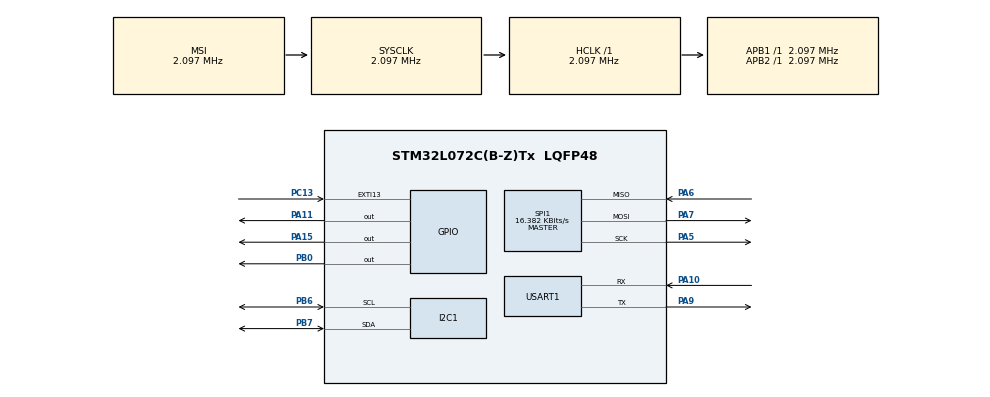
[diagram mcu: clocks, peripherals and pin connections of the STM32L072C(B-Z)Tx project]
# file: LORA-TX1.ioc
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I2C1.Timing=0x00000608
Mcu.Family=STM32L0
Mcu.Name=STM32L072C(B-Z)Tx
Mcu.Package=LQFP48
NVIC.EXTI4_15_IRQn=true\:0\:0\:false\:false\:true\:true\:true\:true
NVIC.RTC_IRQn=true\:0\:0\:false\:false\:true\:true\:true\:true
PA10.Mode=Asynchronous
PA10.Signal=USART1_RX
PA11.Signal=GPIO_Output
PA15.Signal=GPIO_Output
PA5.Mode=Full_Duplex_Master
PA5.Signal=SPI1_SCK
PA6.Mode=Full_Duplex_Master
PA6.Signal=SPI1_MISO
PA7.Mode=Full_Duplex_Master
PA7.Signal=SPI1_MOSI
PA9.Mode=Asynchronous
PA9.Signal=USART1_TX
PB0.Signal=GPIO_Output
PB6.Mode=I2C
PB6.Signal=I2C1_SCL
PB7.Mode=I2C
PB7.Signal=I2C1_SDA
PC13.Signal=GPXTI13
PC14-OSC32_IN.Mode=LSE-External-Oscillator
PC14-OSC32_IN.Signal=RCC_OSC32_IN
PC15-OSC32_OUT.Mode=LSE-External-Oscillator
PC15-OSC32_OUT.Signal=RCC_OSC32_OUT
ProjectManager.HeapSize=0x200
ProjectManager.StackSize=0x400
ProjectManager.TargetToolchain=STM32CubeIDE
RCC.AHBFreq_Value=2097000
RCC.APB1Freq_Value=2097000
RCC.APB1TimFreq_Value=2097000
RCC.APB2Freq_Value=2097000
RCC.APB2TimFreq_Value=2097000
RCC.HSE_VALUE=8000000
RCC.HSI16_VALUE=16000000
RCC.HSI48_VALUE=48000000
RCC.HSI_VALUE=16000000
RCC.MSI_VALUE=2097000
RCC.SYSCLKFreq_VALUE=2097000
RCC.VCOOutputFreq_Value=48000000
SPI1.BaudRatePrescaler=SPI_BAUDRATEPRESCALER_128
SPI1.CalculateBaudRate=16.382 KBits/s
SPI1.Direction=SPI_DIRECTION_2LINES
SPI1.Mode=SPI_MODE_MASTER
SPI1.VirtualType=VM_MASTER
USART1.VirtualMode-Asynchronous=VM_ASYNC
VP_ADC_Vref_Input.Mode=IN-Vrefint
VP_RTC_VS_RTC_Activate.Mode=RTC_Enabled
VP_RTC_VS_RTC_WakeUp_intern.Mode=WakeUp
board=custom

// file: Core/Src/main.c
/* USER CODE BEGIN Header */
/**
  ******************************************************************************
  * @file           : main.c
  * @brief          : Main program body
  ******************************************************************************
  * @attention
  *
  * Copyright (c) 2026 STMicroelectronics.
  * All rights reserved.
  *
  * This software is licensed under terms that can be found in the LICENSE file
  * in the root directory of this software component.
  * If no LICENSE file comes with this software, it is provided AS-IS.
  *
  ******************************************************************************
  */
/* USER CODE END Header */
#include "main.h"

/* USER CODE BEGIN Includes */
#include "sx1276.h"
#include <stdio.h>
#include <string.h>
/* USER CODE END Includes */

ADC_HandleTypeDef hadc;

I2C_HandleTypeDef hi2c1;

RTC_HandleTypeDef hrtc;

SPI_HandleTypeDef hspi1;

UART_HandleTypeDef huart1;

void SystemClock_Config(void);
static void MX_GPIO_Init(void);
static void MX_SPI1_Init(void);
static void MX_USART1_UART_Init(void);
static void MX_RTC_Init(void);
static void MX_ADC_Init(void);
static void MX_I2C1_Init(void);
/* USER CODE BEGIN PFP */

////////// Funciones para dormir el micro en STOP mode ////////////////
void RTC_SetWakeUp(uint32_t seconds)
{
    HAL_RTCEx_DeactivateWakeUpTimer(&hrtc);

    HAL_RTCEx_SetWakeUpTimer_IT(
        &hrtc,
        seconds,
        RTC_WAKEUPCLOCK_CK_SPRE_16BITS
    );
}

void Enter_Stop_Mode(void)
{
    HAL_SuspendTick();

    HAL_PWR_EnterSTOPMode(
        PWR_LOWPOWERREGULATOR_ON,
        PWR_STOPENTRY_WFI
    );
    SystemClock_Config();
    HAL_ResumeTick();
}
///////////////////////////////////////////////////////////////////////

////////// Funciones para escribir registros en SX1276 ////////////////
void LORA_Select(void)
{
    HAL_GPIO_WritePin(SX_NSS_PORT, SX_NSS_PIN, GPIO_PIN_RESET);
}

void LORA_Unselect(void)
{
    HAL_GPIO_WritePin(SX_NSS_PORT, SX_NSS_PIN, GPIO_PIN_SET);
}

void SX1276_WriteRegister(uint8_t reg, uint8_t value)
{
    uint8_t tx[2];

    tx[0] = reg | 0x80;   // bit 7 = 1 → WRITE
    tx[1] = value;

    LORA_Select();
    HAL_SPI_Transmit(&hspi1, tx, 2, HAL_MAX_DELAY);
    LORA_Unselect();
}
///////////////////////////////////////////////////////////////////////

////////// Funciones para dormir el SX1276 mientras no trasnmito ////////////////
void SX1276_Sleep(void)
{
	SX1276_WriteRegister(0x01, 0x80);
}

void SX1276_Standby(void)
{
	SX1276_WriteRegister(0x01, 0x81);
}

////////// Funciones para dormir stm mientras transmito ////////////////
void HAL_GPIO_EXTI_Callback(uint16_t GPIO_Pin)
{
    if (GPIO_Pin == SX_DIO0_PIN)
    {
    	//SX1276_WriteRegister(0x12, 0xFF); // limpiar IRQ
        tx_done_flag = 1;
    }
}

/////////// Funciones para leer VDD de la bateria ///////////////////
uint32_t read_vdd_mv(void)
{
    HAL_ADC_Start(&hadc);

    HAL_ADC_PollForConversion(&hadc, HAL_MAX_DELAY);

    uint32_t adc = HAL_ADC_GetValue(&hadc);

    HAL_ADC_Stop(&hadc);

    uint32_t vref_cal = *((uint16_t*)0x1FF80078);

    uint32_t vdd = (3000 * vref_cal) / adc;

    return vdd;
}
/////////// Funciones para leer ADC ///////////////////
/*uint16_t ADC_value = 0;
int count = 0;
int value = 0;

long map(long x, long in_min, long in_max, long out_min, long out_max){
	return ( x-in_min)*(out_max-out_min+1) / (in_max - in_min + 1) + out_min;
}*/
/////////// Funciones para leer SHT20 ///////////////////
float SHT20_ReadTemperature(void)
{
    uint8_t cmd = 0xF3;
    uint8_t data[2];

    HAL_I2C_Master_Transmit(&hi2c1, 0x40<<1, &cmd, 1, HAL_MAX_DELAY);

    HAL_Delay(85);

    HAL_I2C_Master_Receive(&hi2c1, 0x40<<1, data, 2, HAL_MAX_DELAY);

    uint16_t raw = (data[0] << 8) | data[1];

    float temp = -46.85 + 175.72 * raw / 65536.0;

    return temp;
}

float SHT20_ReadHumidity(void)
{
    uint8_t cmd = 0xF5;
    uint8_t data[2];

    HAL_I2C_Master_Transmit(&hi2c1, 0x40<<1, &cmd, 1, HAL_MAX_DELAY);

    HAL_Delay(29);

    HAL_I2C_Master_Receive(&hi2c1, 0x40<<1, data, 2, HAL_MAX_DELAY);

    uint16_t raw = (data[0] << 8) | data[1];

    float hum = -6 + 125.0 * raw / 65536.0;

    return hum;
}

/* USER CODE END PFP */

int main(void)
{

  /* MCU Configuration--------------------------------------------------------*/

  /* Reset of all peripherals, Initializes the Flash interface and the Systick. */
  HAL_Init();

  /* Configure the system clock */
  SystemClock_Config();

  /* Initialize all configured peripherals */
  MX_GPIO_Init();
  MX_SPI1_Init();
  MX_USART1_UART_Init();
  MX_RTC_Init();
  MX_ADC_Init();
  MX_I2C1_Init();
  /* USER CODE BEGIN 2 */
  SX1276_Init();

  /* USER CODE END 2 */

  /* Infinite loop */
  /* USER CODE BEGIN WHILE */
  char msg[80];

  int v_int = 1245;  // 12.45 V representado como entero x100
  int i_int = 132;   // 1.32 A
  int counter = 0;  // 16.43 W

  while (1)
  {
    /* USER CODE END WHILE */

    /* USER CODE BEGIN 3 */
  //uint8_t msg[] = "<0001>TEST";
  //SX1276_Send(msg, sizeof(msg)-1);

  //medir el vdd
  uint32_t vdd = read_vdd_mv();
  int vbat_int = vdd;

  // temperatura y humedad
  float temp = SHT20_ReadTemperature();
  float hum  = SHT20_ReadHumidity();

  //lectura del ADC
/*  HAL_ADC_Start(&hadc);
  HAL_ADC_PollForConversion(&hadc, 100);
  ADC_value = HAL_ADC_GetValue(&hadc);
  HAL_ADC_Stop(&hadc);
  value = map(ADC_value, 0, 4030, 0, 100);*/

  /*sprintf(msg, "<0001>{\"v\":%d.%02d,\"i\":%d.%02d,\"vbat\":%d.%03d,\"c\":%d}",
			v_int/100, v_int%100,
			i_int/100, i_int%100,
			vbat_int/1000, vbat_int%1000,
			counter);*/
  //printf("vbat=%lu ", vdd);
  //printf("vbat=%lu temp=%f hum=%f\r\n", vdd, temp, hum);
  sprintf(msg, // @suppress("Float formatting support")
  "<0001>{\"vbat\":%d.%03d,\"t\":%.2f,\"h\":%.2f,\"c\":%d}",
  vbat_int/1000,
  vbat_int%1000,
  temp,
  hum,
  counter);

  SX1276_Send((uint8_t*)msg, strlen(msg));
  counter++;

  HAL_GPIO_WritePin(GPIOA, GPIO_PIN_11, GPIO_PIN_SET);
  HAL_Delay(250);
  HAL_GPIO_WritePin(GPIOA, GPIO_PIN_11, GPIO_PIN_RESET);

  SX1276_Sleep();	// ← dormimos el radio

  //HAL_Delay(15000);
  RTC_SetWakeUp(900);

  Enter_Stop_Mode();

  SX1276_Standby(); // ← despertamos radio
  }
  /* USER CODE END 3 */
}

void SystemClock_Config(void)
{
  RCC_OscInitTypeDef RCC_OscInitStruct = {0};
  RCC_ClkInitTypeDef RCC_ClkInitStruct = {0};
  RCC_PeriphCLKInitTypeDef PeriphClkInit = {0};

  /** Configure the main internal regulator output voltage
  */
  __HAL_PWR_VOLTAGESCALING_CONFIG(PWR_REGULATOR_VOLTAGE_SCALE1);

  /** Initializes the RCC Oscillators according to the specified parameters
  * in the RCC_OscInitTypeDef structure.
  */
  RCC_OscInitStruct.OscillatorType = RCC_OSCILLATORTYPE_LSI|RCC_OSCILLATORTYPE_MSI;
  RCC_OscInitStruct.LSIState = RCC_LSI_ON;
  RCC_OscInitStruct.MSIState = RCC_MSI_ON;
  RCC_OscInitStruct.MSICalibrationValue = 0;
  RCC_OscInitStruct.MSIClockRange = RCC_MSIRANGE_5;
  RCC_OscInitStruct.PLL.PLLState = RCC_PLL_NONE;
  if (HAL_RCC_OscConfig(&RCC_OscInitStruct) != HAL_OK)
  {
    Error_Handler();
  }

  /** Initializes the CPU, AHB and APB buses clocks
  */
  RCC_ClkInitStruct.ClockType = RCC_CLOCKTYPE_HCLK|RCC_CLOCKTYPE_SYSCLK
                              |RCC_CLOCKTYPE_PCLK1|RCC_CLOCKTYPE_PCLK2;
  RCC_ClkInitStruct.SYSCLKSource = RCC_SYSCLKSOURCE_MSI;
  RCC_ClkInitStruct.AHBCLKDivider = RCC_SYSCLK_DIV1;
  RCC_ClkInitStruct.APB1CLKDivider = RCC_HCLK_DIV1;
  RCC_ClkInitStruct.APB2CLKDivider = RCC_HCLK_DIV1;

  if (HAL_RCC_ClockConfig(&RCC_ClkInitStruct, FLASH_LATENCY_0) != HAL_OK)
  {
    Error_Handler();
  }
  PeriphClkInit.PeriphClockSelection = RCC_PERIPHCLK_USART1|RCC_PERIPHCLK_I2C1
                              |RCC_PERIPHCLK_RTC;
  PeriphClkInit.Usart1ClockSelection = RCC_USART1CLKSOURCE_PCLK2;
  PeriphClkInit.I2c1ClockSelection = RCC_I2C1CLKSOURCE_PCLK1;
  PeriphClkInit.RTCClockSelection = RCC_RTCCLKSOURCE_LSI;
  if (HAL_RCCEx_PeriphCLKConfig(&PeriphClkInit) != HAL_OK)
  {
    Error_Handler();
  }
}

static void MX_ADC_Init(void)
{

  ADC_ChannelConfTypeDef sConfig = {0};

  /** Configure the global features of the ADC (Clock, Resolution, Data Alignment and number of conversion)
  */
  hadc.Instance = ADC1;
  hadc.Init.OversamplingMode = DISABLE;
  hadc.Init.ClockPrescaler = ADC_CLOCK_SYNC_PCLK_DIV1;
  hadc.Init.Resolution = ADC_RESOLUTION_12B;
  hadc.Init.SamplingTime = ADC_SAMPLETIME_1CYCLE_5;
  hadc.Init.ScanConvMode = ADC_SCAN_DIRECTION_FORWARD;
  hadc.Init.DataAlign = ADC_DATAALIGN_RIGHT;
  hadc.Init.ContinuousConvMode = DISABLE;
  hadc.Init.DiscontinuousConvMode = DISABLE;
  hadc.Init.ExternalTrigConvEdge = ADC_EXTERNALTRIGCONVEDGE_NONE;
  hadc.Init.ExternalTrigConv = ADC_SOFTWARE_START;
  hadc.Init.DMAContinuousRequests = DISABLE;
  hadc.Init.EOCSelection = ADC_EOC_SINGLE_CONV;
  hadc.Init.Overrun = ADC_OVR_DATA_PRESERVED;
  hadc.Init.LowPowerAutoWait = DISABLE;
  hadc.Init.LowPowerFrequencyMode = ENABLE;
  hadc.Init.LowPowerAutoPowerOff = DISABLE;
  if (HAL_ADC_Init(&hadc) != HAL_OK)
  {
    Error_Handler();
  }

  /** Configure for the selected ADC regular channel to be converted.
  */
  sConfig.Channel = ADC_CHANNEL_VREFINT;
  sConfig.Rank = ADC_RANK_CHANNEL_NUMBER;
  if (HAL_ADC_ConfigChannel(&hadc, &sConfig) != HAL_OK)
  {
    Error_Handler();
  }

}

static void MX_I2C1_Init(void)
{

  hi2c1.Instance = I2C1;
  hi2c1.Init.Timing = 0x00000608;
  hi2c1.Init.OwnAddress1 = 0;
  hi2c1.Init.AddressingMode = I2C_ADDRESSINGMODE_7BIT;
  hi2c1.Init.DualAddressMode = I2C_DUALADDRESS_DISABLE;
  hi2c1.Init.OwnAddress2 = 0;
  hi2c1.Init.OwnAddress2Masks = I2C_OA2_NOMASK;
  hi2c1.Init.GeneralCallMode = I2C_GENERALCALL_DISABLE;
  hi2c1.Init.NoStretchMode = I2C_NOSTRETCH_DISABLE;
  if (HAL_I2C_Init(&hi2c1) != HAL_OK)
  {
    Error_Handler();
  }

  /** Configure Analogue filter
  */
  if (HAL_I2CEx_ConfigAnalogFilter(&hi2c1, I2C_ANALOGFILTER_ENABLE) != HAL_OK)
  {
    Error_Handler();
  }

  /** Configure Digital filter
  */
  if (HAL_I2CEx_ConfigDigitalFilter(&hi2c1, 0) != HAL_OK)
  {
    Error_Handler();
  }

}

static void MX_RTC_Init(void)
{

  /** Initialize RTC Only
  */
  hrtc.Instance = RTC;
  hrtc.Init.HourFormat = RTC_HOURFORMAT_24;
  hrtc.Init.AsynchPrediv = 127;
  hrtc.Init.SynchPrediv = 255;
  hrtc.Init.OutPut = RTC_OUTPUT_DISABLE;
  hrtc.Init.OutPutRemap = RTC_OUTPUT_REMAP_NONE;
  hrtc.Init.OutPutPolarity = RTC_OUTPUT_POLARITY_HIGH;
  hrtc.Init.OutPutType = RTC_OUTPUT_TYPE_OPENDRAIN;
  if (HAL_RTC_Init(&hrtc) != HAL_OK)
  {
    Error_Handler();
  }

  /** Enable the WakeUp
  */
  if (HAL_RTCEx_SetWakeUpTimer_IT(&hrtc, 0, RTC_WAKEUPCLOCK_RTCCLK_DIV16) != HAL_OK)
  {
    Error_Handler();
  }

}

static void MX_SPI1_Init(void)
{

  /* SPI1 parameter configuration*/
  hspi1.Instance = SPI1;
  hspi1.Init.Mode = SPI_MODE_MASTER;
  hspi1.Init.Direction = SPI_DIRECTION_2LINES;
  hspi1.Init.DataSize = SPI_DATASIZE_8BIT;
  hspi1.Init.CLKPolarity = SPI_POLARITY_LOW;
  hspi1.Init.CLKPhase = SPI_PHASE_1EDGE;
  hspi1.Init.NSS = SPI_NSS_SOFT;
  hspi1.Init.BaudRatePrescaler = SPI_BAUDRATEPRESCALER_128;
  hspi1.Init.FirstBit = SPI_FIRSTBIT_MSB;
  hspi1.Init.TIMode = SPI_TIMODE_DISABLE;
  hspi1.Init.CRCCalculation = SPI_CRCCALCULATION_DISABLE;
  hspi1.Init.CRCPolynomial = 7;
  if (HAL_SPI_Init(&hspi1) != HAL_OK)
  {
    Error_Handler();
  }

}

static void MX_USART1_UART_Init(void)
{

  huart1.Instance = USART1;
  huart1.Init.BaudRate = 115200;
  huart1.Init.WordLength = UART_WORDLENGTH_8B;
  huart1.Init.StopBits = UART_STOPBITS_1;
  huart1.Init.Parity = UART_PARITY_NONE;
  huart1.Init.Mode = UART_MODE_TX_RX;
  huart1.Init.HwFlowCtl = UART_HWCONTROL_NONE;
  huart1.Init.OverSampling = UART_OVERSAMPLING_16;
  huart1.Init.OneBitSampling = UART_ONE_BIT_SAMPLE_DISABLE;
  huart1.AdvancedInit.AdvFeatureInit = UART_ADVFEATURE_NO_INIT;
  if (HAL_UART_Init(&huart1) != HAL_OK)
  {
    Error_Handler();
  }

}

static void MX_GPIO_Init(void)
{
  GPIO_InitTypeDef GPIO_InitStruct = {0};

  /* GPIO Ports Clock Enable */
  __HAL_RCC_GPIOC_CLK_ENABLE();
  __HAL_RCC_GPIOA_CLK_ENABLE();
  __HAL_RCC_GPIOB_CLK_ENABLE();

  /*Configure GPIO pin Output Level */
  HAL_GPIO_WritePin(GPIOB, GPIO_PIN_0, GPIO_PIN_RESET);

  /*Configure GPIO pin Output Level */
  HAL_GPIO_WritePin(GPIOA, GPIO_PIN_11|GPIO_PIN_15, GPIO_PIN_RESET);

  /*Configure GPIO pin : PC13 */
  GPIO_InitStruct.Pin = GPIO_PIN_13;
  GPIO_InitStruct.Mode = GPIO_MODE_IT_RISING;
  GPIO_InitStruct.Pull = GPIO_NOPULL;
  HAL_GPIO_Init(GPIOC, &GPIO_InitStruct);

  /*Configure GPIO pin : PB0 */
  GPIO_InitStruct.Pin = GPIO_PIN_0;
  GPIO_InitStruct.Mode = GPIO_MODE_OUTPUT_PP;
  GPIO_InitStruct.Pull = GPIO_NOPULL;
  GPIO_InitStruct.Speed = GPIO_SPEED_FREQ_LOW;
  HAL_GPIO_Init(GPIOB, &GPIO_InitStruct);

  /*Configure GPIO pins : PA11 PA15 */
  GPIO_InitStruct.Pin = GPIO_PIN_11|GPIO_PIN_15;
  GPIO_InitStruct.Mode = GPIO_MODE_OUTPUT_PP;
  GPIO_InitStruct.Pull = GPIO_NOPULL;
  GPIO_InitStruct.Speed = GPIO_SPEED_FREQ_LOW;
  HAL_GPIO_Init(GPIOA, &GPIO_InitStruct);

  /* EXTI interrupt init*/
  HAL_NVIC_SetPriority(EXTI4_15_IRQn, 0, 0);
  HAL_NVIC_EnableIRQ(EXTI4_15_IRQn);

}

void Error_Handler(void)
{
  __disable_irq();
  while (1)
  {
  }
}
